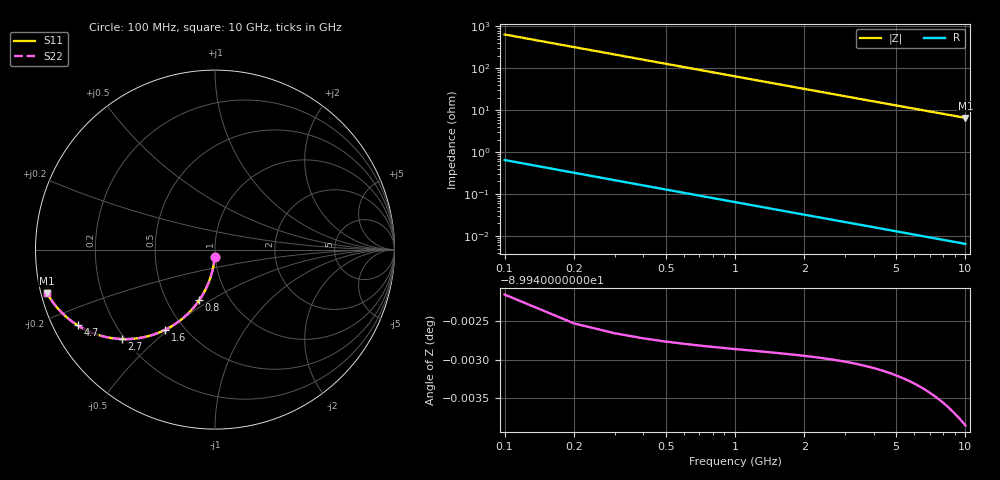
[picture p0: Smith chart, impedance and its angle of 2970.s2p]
# Hz S RI R 50.00
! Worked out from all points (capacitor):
!   100 points, 100 MHz to 10 GHz, reference 50 ohm
!   read as one part in shunt: C = 2.47 pF near 100 MHz
!   lowest |Z| = 6.59 ohm at 10 GHz (marker M1)
!   S11 on the Smith chart (normalised r, x): 100 MHz: 0.99, -0.08; 800 MHz: 0.72, -0.45; 1.6 GHz: 0.39, -0.49; 2.7 GHz: 0.19, -0.39; 4.7 GHz: 0.07, -0.26; 10 GHz: 0.02, -0.13
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1e8  -0.00154 -0.0388  0.9984 -0.0388  0.9984 -0.0388  -0.00154 -0.0388
2e8  -0.00608 -0.0772  0.9939 -0.0773  0.9939 -0.0773  -0.00608 -0.0772
3e8  -0.0135 -0.1149  0.9865 -0.1151  0.9865 -0.1151  -0.0135 -0.1149
4e8  -0.0237 -0.1516  0.9763 -0.1518  0.9763 -0.1518  -0.0237 -0.1516
5e8  -0.0365 -0.1869  0.9635 -0.1872  0.9635 -0.1872  -0.0365 -0.1869
6e8  -0.0517 -0.2207  0.9483 -0.221  0.9483 -0.221  -0.0517 -0.2207
8e8  -0.0881 -0.2828  0.9118 -0.2832  0.9118 -0.2832  -0.0881 -0.2828
1e9  -0.131 -0.3367  0.869 -0.3372  0.869 -0.3372  -0.131 -0.3367
1.2e9  -0.1781 -0.3818  0.8219 -0.3824  0.8219 -0.3824  -0.1781 -0.3818
1.4e9  -0.2275 -0.4184  0.7725 -0.4191  0.7725 -0.4191  -0.2275 -0.4184
1.6e9  -0.2775 -0.4468  0.7225 -0.4477  0.7225 -0.4477  -0.2775 -0.4468
1.8e9  -0.3267 -0.4681  0.6733 -0.469  0.6733 -0.469  -0.3267 -0.4681
2.2e9  -0.4196 -0.4924  0.5804 -0.4936  0.5804 -0.4936  -0.4196 -0.4924
2.7e9  -0.5205 -0.4984  0.4795 -0.4998  0.4795 -0.4998  -0.5205 -0.4984
3.4e9  -0.6316 -0.481  0.3684 -0.4828  0.3684 -0.4828  -0.6316 -0.481
4e9  -0.7029 -0.4554  0.2971 -0.4575  0.2971 -0.4575  -0.7029 -0.4554
4.7e9  -0.7651 -0.4222  0.2349 -0.4246  0.2349 -0.4246  -0.7651 -0.4222
5.1e9  -0.793 -0.4033  0.207 -0.406  0.207 -0.406  -0.793 -0.4033
5.8e9  -0.8318 -0.372  0.1682 -0.3751  0.1682 -0.3751  -0.8318 -0.372
6.7e9  -0.8682 -0.336  0.1318 -0.3396  0.1318 -0.3396  -0.8682 -0.336
8.4e9  -0.9117 -0.281  0.0883 -0.2854  0.0883 -0.2854  -0.9117 -0.281
1e10  -0.936 -0.2416  0.064 -0.2469  0.064 -0.2469  -0.936 -0.2416
